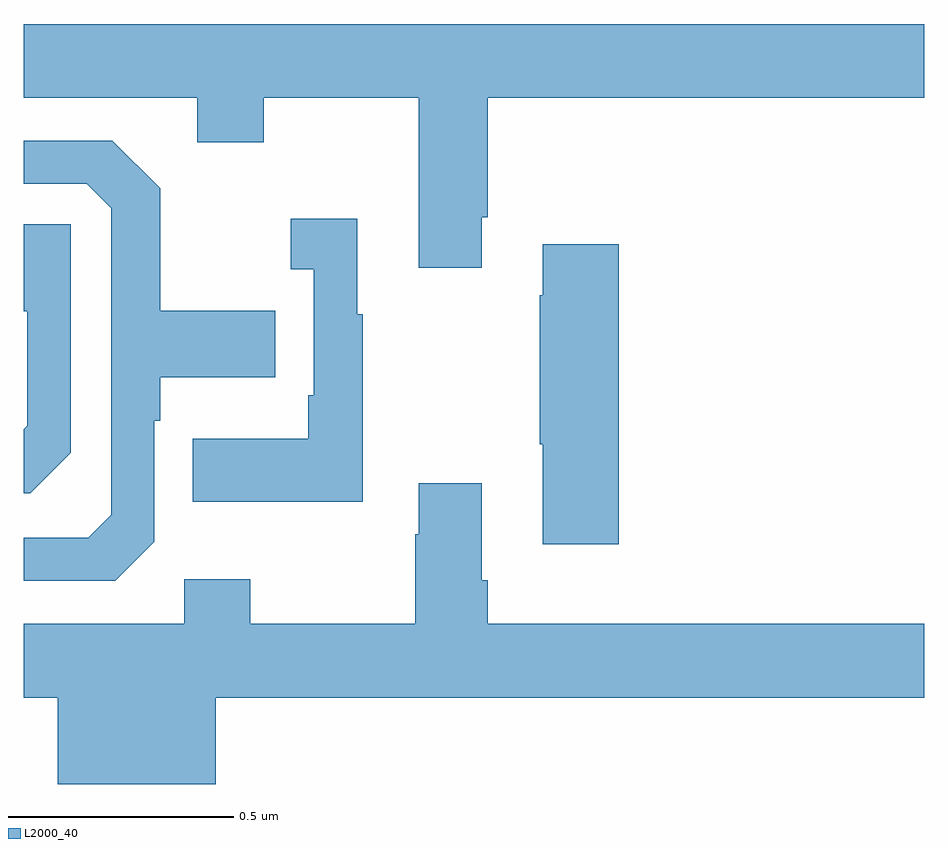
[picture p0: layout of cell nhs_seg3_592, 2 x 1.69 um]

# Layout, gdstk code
import gdstk
lib = gdstk.Library(unit=1e-6, precision=1e-09)
def P(c, l, *ps):  # polygons
    for p in ps: c.add(gdstk.Polygon(p, *l))
L2000_40 = (2000, 40)

nhs_seg3_592 = lib.new_cell('nhs_seg3_592')
P(nhs_seg3_592, L2000_40, [(119.017,692.659),(119.03,692.659),(119.03,692.924),(120,692.924),(120,693.088),(118,693.088),(118,692.924),(118.385,692.924),(118.385,692.825),(118.533,692.825),(118.533,692.924),(118.877,692.924),(118.877,692.547),(119.017,692.547)],
  [(118.29,691.938),(118.29,692.207),(118.303,692.207),(118.303,692.303),(118.559,692.303),(118.559,692.451),(118.303,692.451),(118.303,692.723),(118.197,692.829),(118,692.829),(118,692.733),(118.14,692.733),(118.194,692.679),(118.194,691.998),(118.143,691.947),(118,691.947),(118,691.851),(118.203,691.851)],
  [(118.753,692.443),(118.741,692.443),(118.741,692.656),(118.593,692.656),(118.593,692.543),(118.644,692.543),(118.644,692.263),(118.632,692.263),(118.632,692.167),(118.375,692.167),(118.375,692.027),(118.753,692.027)],
  [(118.104,692.136),(118.104,692.643),(118,692.643),(118,692.45),(118.008,692.45),(118.008,692.196),(118,692.188),(118,692.046),(118.014,692.046)],
  [(119.321,692.599),(119.153,692.599),(119.153,692.486),(119.146,692.486),(119.146,692.155),(119.153,692.155),(119.153,691.932),(119.321,691.932)],
  [(118.426,691.592),(120,691.592),(120,691.756),(119.03,691.756),(119.03,691.852),(119.017,691.852),(119.017,692.068),(118.877,692.068),(118.877,691.955),(118.87,691.955),(118.87,691.756),(118.503,691.756),(118.503,691.855),(118.356,691.855),(118.356,691.756),(118,691.756),(118,691.592),(118.076,691.592),(118.076,691.4),(118.426,691.4)])

lib.write_gds('nhs_seg3_592.gds')
